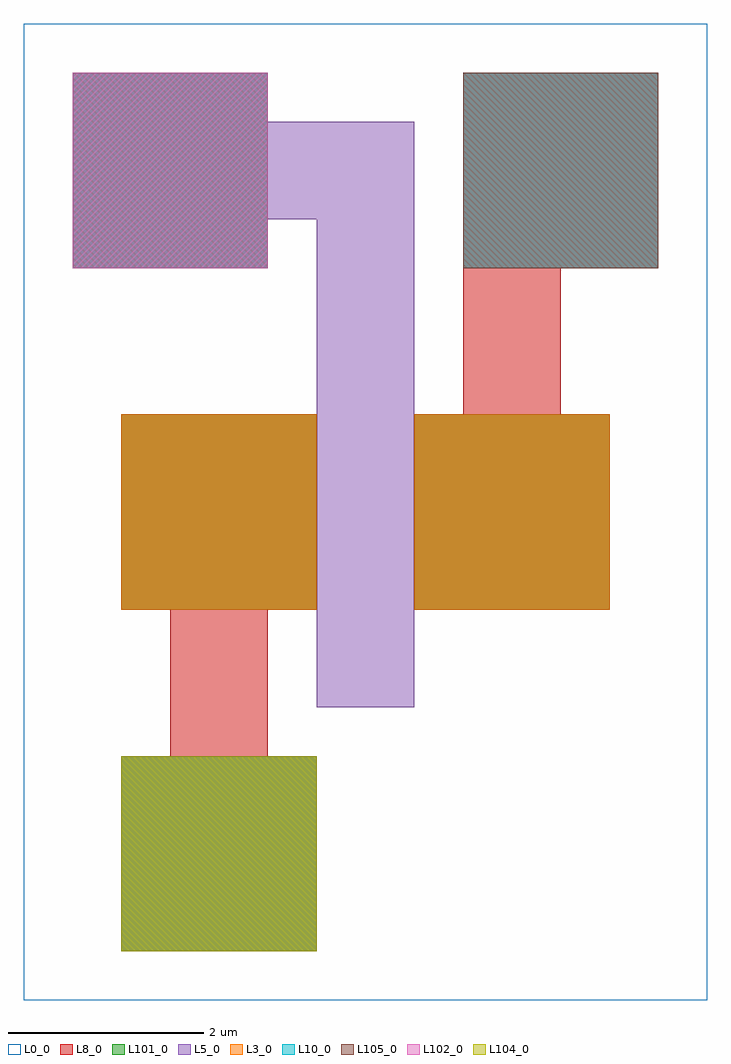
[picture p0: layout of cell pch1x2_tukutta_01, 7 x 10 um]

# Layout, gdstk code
import gdstk
lib = gdstk.Library(unit=1e-6, precision=1e-09)
def R(c, l, rs):  # rectangles x0, y0, x1, y1
    for r in rs: c.add(gdstk.rectangle(r[:2], r[2:], *l))
def P(c, l, *ps):  # polygons
    for p in ps: c.add(gdstk.Polygon(p, *l))
L0_0 = (0, 0)
L3_0 = (3, 0)
L5_0 = (5, 0)
L8_0 = (8, 0)
L10_0 = (10, 0)
L101_0 = (101, 0)
L102_0 = (102, 0)
L104_0 = (104, 0)
L105_0 = (105, 0)

pch1x2_tukutta_01 = lib.new_cell('pch1x2_tukutta_01')
R(pch1x2_tukutta_01, L0_0, [(0,0,7,10)])
R(pch1x2_tukutta_01, L3_0, [(1,4,3,6), (4,4,6,6)])
P(pch1x2_tukutta_01, L5_0, [(0.5,7.5),(2.5,7.5),(2.5,8),(3,8),(3,3),(4,3),(4,9),(2.5,9),(2.5,9.5),(0.5,9.5)])
R(pch1x2_tukutta_01, L8_0, [(0.5,7.5,2.5,9.5)])
P(pch1x2_tukutta_01, L8_0, [(1,0.5),(3,0.5),(3,2.5),(2.5,2.5),(2.5,4),(3,4),(3,6),(1,6),(1,4),(1.5,4),(1.5,2.5),(1,2.5)],
  [(4,4),(6,4),(6,6),(5.5,6),(5.5,7.5),(6.5,7.5),(6.5,9.5),(4.5,9.5),(4.5,6),(4,6)])
R(pch1x2_tukutta_01, L10_0, [(0.5,7.5,2.5,9.5), (4.5,7.5,6.5,9.5)])
R(pch1x2_tukutta_01, L101_0, [(1,0.5,3,2.5), (1,4,3,6), (4,4,6,6)])
R(pch1x2_tukutta_01, L102_0, [(0.5,7.5,2.5,9.5)])
R(pch1x2_tukutta_01, L104_0, [(1,0.5,3,2.5)])
R(pch1x2_tukutta_01, L105_0, [(0.5,7.5,2.5,9.5), (4.5,7.5,6.5,9.5)])

lib.write_gds('pch1x2_tukutta_01.gds')
